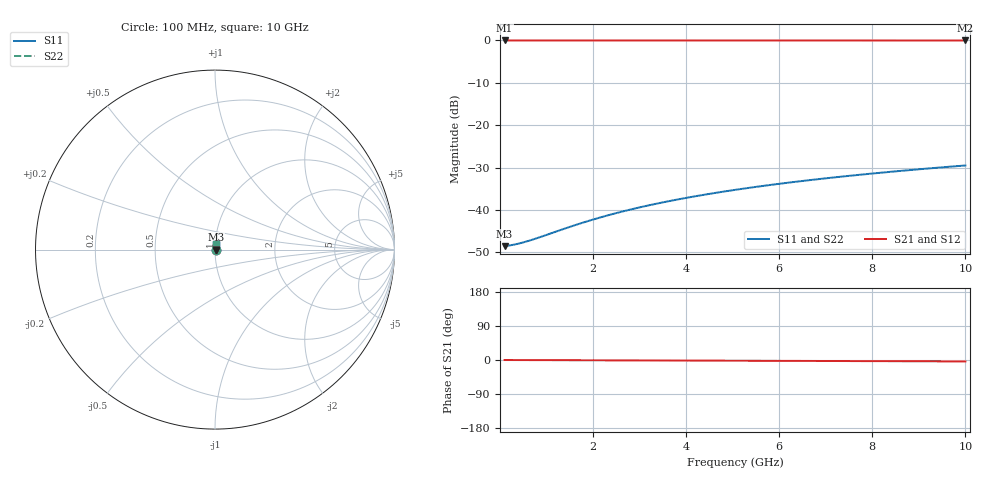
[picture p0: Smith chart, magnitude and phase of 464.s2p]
# Hz S RI R 50.00
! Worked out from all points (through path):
!   100 points, 100 MHz to 10 GHz, reference 50 ohm
!   highest |S21| = -0.03 dB at 100 MHz (marker M1); lowest = 0.0 dB at 10 GHz (marker M2)
!   lowest |S11| = -48.5 dB at 100 MHz (marker M3), VSWR 1.01, Z = 50.4 + j0.0332 ohm
!   |S11| at or under -10 dB: start of sweep to end of sweep
!   |S22| runs from -48.5 to -29.5 dB; largest |S21 - S12| = 0
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1e8  0.00372 0.00033  0.9963 -0.000651  0.9963 -0.000651  0.00372 0.00033
2e8  0.00375 0.000659  0.9962 -0.0013  0.9962 -0.0013  0.00375 0.000659
3e8  0.00377 0.000989  0.9962 -0.00195  0.9962 -0.00195  0.00377 0.000989
4e8  0.00378 0.00132  0.9962 -0.0026  0.9962 -0.0026  0.00378 0.00132
6e8  0.00381 0.00198  0.9962 -0.0039  0.9962 -0.0039  0.00381 0.00198
8e8  0.00384 0.00264  0.9962 -0.0052  0.9962 -0.0052  0.00384 0.00264
1.5e9  0.00392 0.00494  0.9961 -0.00976  0.9961 -0.00976  0.00392 0.00494
1.8e9  0.00395 0.00593  0.996 -0.0117  0.996 -0.0117  0.00395 0.00593
2.2e9  0.00401 0.00725  0.996 -0.0143  0.996 -0.0143  0.00401 0.00725
2.6e9  0.00407 0.00857  0.9959 -0.0169  0.9959 -0.0169  0.00407 0.00857
3e9  0.00413 0.00988  0.9958 -0.0195  0.9958 -0.0195  0.00413 0.00988
3.4e9  0.0042 0.0112  0.9957 -0.0221  0.9957 -0.0221  0.0042 0.0112
3.8e9  0.00427 0.0125  0.9956 -0.0247  0.9956 -0.0247  0.00427 0.0125
4.2e9  0.00435 0.0138  0.9955 -0.0273  0.9955 -0.0273  0.00435 0.0138
4.6e9  0.00444 0.0151  0.9954 -0.0299  0.9954 -0.0299  0.00444 0.0151
5.1e9  0.00456 0.0168  0.9953 -0.0332  0.9953 -0.0332  0.00456 0.0168
5.9e9  0.00477 0.0194  0.995 -0.0384  0.995 -0.0384  0.00477 0.0194
6.7e9  0.00501 0.022  0.9947 -0.0435  0.9947 -0.0435  0.00501 0.022
7.5e9  0.00528 0.0247  0.9944 -0.0487  0.9944 -0.0487  0.00528 0.0247
8.4e9  0.00561 0.0276  0.994 -0.0546  0.994 -0.0546  0.00561 0.0276
9.2e9  0.00593 0.0302  0.9936 -0.0598  0.9936 -0.0598  0.00593 0.0302
1e10  0.00628 0.0328  0.9932 -0.0649  0.9932 -0.0649  0.00628 0.0328
